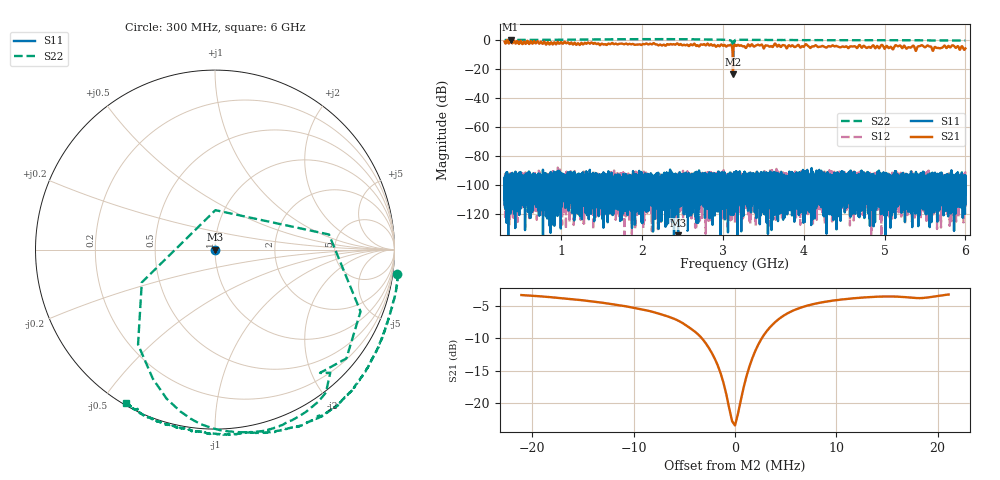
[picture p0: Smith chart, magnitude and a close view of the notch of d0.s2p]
!Agilent Technologies,N5230C,SG49000117,A.08.50.07
!Agilent N5230C: A.08.50.07
!Date: Sunday, March 17, 2024 01:15:41
!Correction: S11(Off)
!S21(Off)
!S12(Off)
!S22(Full 1 Port(2))
!S2P File: Measurements: S11, S21, S12, S22:
# Hz S  RI  R 50
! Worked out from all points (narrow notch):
!   20001 points, 300 MHz to 6 GHz, reference 50 ohm
!   highest |S21| = 0.47 dB at 374.1 MHz (marker M1); lowest = -23.5 dB at 3.125 GHz (marker M2)
!   notch at M2: 20.1 dB deep, 3.53 MHz wide at half that depth
!   lowest |S11| = -147.4 dB at 2.446 GHz (marker M3), VSWR 1.00, Z = 50 + j1.03e-06 ohm
!   |S11| at or under -10 dB: start of sweep to end of sweep
!   |S22| runs from -14.0 to 0.9 dB; largest |S21 - S12| = 1.1
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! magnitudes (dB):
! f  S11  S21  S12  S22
! 300 MHz  -112.9  -0.9  -99.8  0.2
! 374.1 MHz  -95.3  0.5  -97.7  0.2
! 1.25 GHz  -96.6  -1.7  -106.5  0.5
! 2.2 GHz  -107.5  -3.5  -97.1  0.8
! 2.446 GHz  -147.4  -2.6  -102.3  0.8
! 3.056 GHz  -106.8  -3.6  -102.8  0.3
! 3.085 GHz  -96.5  -3.3  -101.8  0.1
! 3.101 GHz  -98.6  -3.1  -98.8  -0.2
! 3.125 GHz  -94.5  -23.5  -99.0  -10.8
! 3.15 GHz  -94.0  -3.0  -125.8  0.1
! 3.16 GHz  -100.6  -3.5  -101.5  0.3
! 3.187 GHz  -109.2  -3.0  -115.3  0.4
! 3.977 GHz  -97.4  -4.1  -109.3  0.2
! 4.034 GHz  -98.4  -2.9  -94.9  0.2
! 4.1 GHz  -95.8  -4.3  -101.0  0.2
! 5.05 GHz  -107.6  -5.3  -101.9  0.1
! 5.162 GHz  -103.0  -4.1  -101.1  0.1
! 5.395 GHz  -104.1  -6.4  -110.4  0.0
! 5.455 GHz  -111.3  -3.4  -107.5  0.0
! 5.611 GHz  -106.1  -5.6  -97.5  -0.1
! 5.845 GHz  -96.6  -3.4  -104.3  -0.1
! 6 GHz  -94.4  -5.6  -105.7  -0.1
